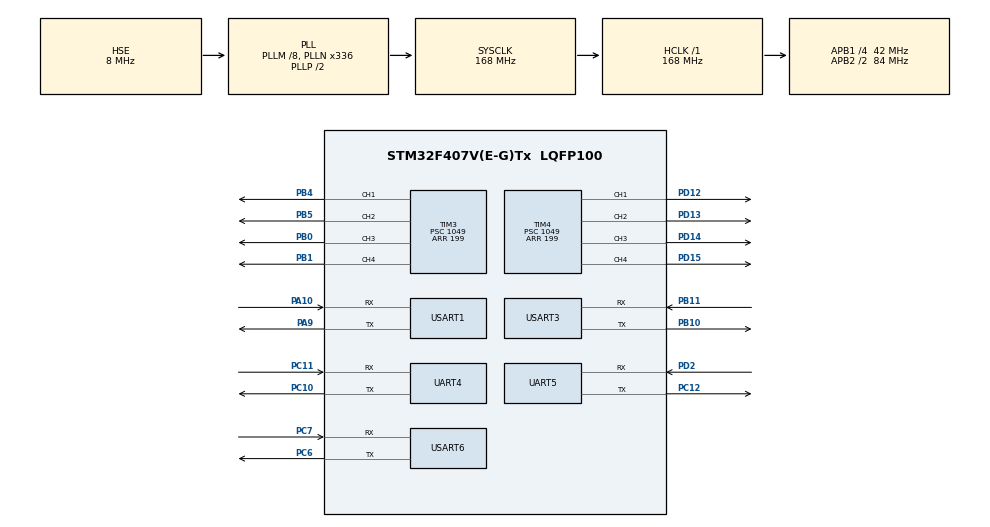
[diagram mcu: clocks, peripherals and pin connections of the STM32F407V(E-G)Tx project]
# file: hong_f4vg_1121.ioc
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Dma.Request0=USART3_RX
Dma.USART3_RX.0.Direction=DMA_PERIPH_TO_MEMORY
Dma.USART3_RX.0.FIFOMode=DMA_FIFOMODE_DISABLE
Dma.USART3_RX.0.Instance=DMA1_Stream1
Dma.USART3_RX.0.MemDataAlignment=DMA_MDATAALIGN_BYTE
Dma.USART3_RX.0.MemInc=DMA_MINC_ENABLE
Dma.USART3_RX.0.Mode=DMA_CIRCULAR
Dma.USART3_RX.0.PeriphDataAlignment=DMA_PDATAALIGN_BYTE
Dma.USART3_RX.0.PeriphInc=DMA_PINC_DISABLE
Dma.USART3_RX.0.Priority=DMA_PRIORITY_MEDIUM
FREERTOS.Queues01=radio_cmd_queue,16,uint16_t,0,Dynamic,NULL,NULL;gyro_data_queue,16,uint16_t,0,Dynamic,NULL,NULL;servo_cmd_queue,16,uint16_t,0,Dynamic,NULL,NULL;printfQueue,16,32,1,Dynamic,NULL,NULL
FREERTOS.Tasks01=Print,24,256,PrintTask,Default,NULL,Dynamic,NULL,NULL;CommandDispatch,40,256,CommandDispatcherTask,Default,NULL,Dynamic,NULL,NULL;PWMControl,32,128,PWMControlTask,Default,NULL,Dynamic,NULL,NULL;GyroData,32,256,GyroDataTask,Default,NULL,Dynamic,NULL,NULL;ServoControl,24,128,ServoControlTask,Default,NULL,Dynamic,NULL,NULL;RadioComm,24,256,RadioCommTask,Default,NULL,Dynamic,NULL,NULL;BoardCom,24,128,BoardComTask,Default,NULL,Dynamic,NULL,NULL;OnboardComp,24,256,OnboardCompTask,Default,NULL,Dynamic,NULL,NULL
Mcu.Family=STM32F4
Mcu.Name=STM32F407V(E-G)Tx
Mcu.Package=LQFP100
NVIC.DMA1_Stream1_IRQn=true\:5\:0\:false\:false\:true\:true\:false\:true\:true
NVIC.PriorityGroup=NVIC_PRIORITYGROUP_4
NVIC.UART4_IRQn=true\:5\:0\:true\:false\:true\:true\:true\:true\:true
NVIC.UART5_IRQn=true\:5\:0\:true\:false\:true\:true\:true\:true\:true
NVIC.USART1_IRQn=true\:5\:0\:true\:false\:true\:true\:true\:true\:true
NVIC.USART3_IRQn=true\:5\:0\:false\:false\:true\:true\:true\:true\:true
NVIC.USART6_IRQn=true\:5\:0\:true\:false\:true\:true\:true\:true\:true
PA10.Mode=Asynchronous
PA10.Signal=USART1_RX
PA13.Mode=Serial_Wire
PA13.Signal=SYS_JTMS-SWDIO
PA14.Mode=Serial_Wire
PA14.Signal=SYS_JTCK-SWCLK
PA9.Mode=Asynchronous
PA9.Signal=USART1_TX
PB0.Signal=S_TIM3_CH3
PB1.Signal=S_TIM3_CH4
PB10.Mode=Asynchronous
PB10.Signal=USART3_TX
PB11.Mode=Asynchronous
PB11.Signal=USART3_RX
PB4.Signal=S_TIM3_CH1
PB5.Signal=S_TIM3_CH2
PC10.Mode=Asynchronous
PC10.Signal=UART4_TX
PC11.Mode=Asynchronous
PC11.Signal=UART4_RX
PC12.Mode=Asynchronous
PC12.Signal=UART5_TX
PC6.Mode=Asynchronous
PC6.Signal=USART6_TX
PC7.Mode=Asynchronous
PC7.Signal=USART6_RX
PD12.Signal=S_TIM4_CH1
PD13.Signal=S_TIM4_CH2
PD14.Signal=S_TIM4_CH3
PD15.Signal=S_TIM4_CH4
PD2.Mode=Asynchronous
PD2.Signal=UART5_RX
PH0-OSC_IN.Mode=HSE-External-Oscillator
PH0-OSC_IN.Signal=RCC_OSC_IN
PH1-OSC_OUT.Mode=HSE-External-Oscillator
PH1-OSC_OUT.Signal=RCC_OSC_OUT
ProjectManager.HeapSize=0x200
ProjectManager.StackSize=0x400
ProjectManager.TargetToolchain=MDK-ARM V5.32
RCC.48MHZClocksFreq_Value=84000000
RCC.AHBFreq_Value=168000000
RCC.APB1CLKDivider=RCC_HCLK_DIV4
RCC.APB1Freq_Value=42000000
RCC.APB1TimFreq_Value=84000000
RCC.APB2CLKDivider=RCC_HCLK_DIV2
RCC.APB2Freq_Value=84000000
RCC.APB2TimFreq_Value=168000000
RCC.CortexFreq_Value=168000000
RCC.HCLKFreq_Value=168000000
RCC.HSE_VALUE=8000000
RCC.HSI_VALUE=16000000
RCC.LSE_VALUE=32768
RCC.PLLM=8
RCC.PLLN=336
RCC.PLLSourceVirtual=RCC_PLLSOURCE_HSE
RCC.SYSCLKFreq_VALUE=168000000
RCC.SYSCLKSource=RCC_SYSCLKSOURCE_PLLCLK
RCC.VCOOutputFreq_Value=336000000
SH.S_TIM3_CH1.0=TIM3_CH1,PWM Generation1 CH1
SH.S_TIM3_CH2.0=TIM3_CH2,PWM Generation2 CH2
SH.S_TIM3_CH3.0=TIM3_CH3,PWM Generation3 CH3
SH.S_TIM3_CH4.0=TIM3_CH4,PWM Generation4 CH4
SH.S_TIM4_CH1.0=TIM4_CH1,PWM Generation1 CH1
SH.S_TIM4_CH2.0=TIM4_CH2,PWM Generation2 CH2
SH.S_TIM4_CH3.0=TIM4_CH3,PWM Generation3 CH3
SH.S_TIM4_CH4.0=TIM4_CH4,PWM Generation4 CH4
TIM3.Channel-PWM\ Generation1\ CH1=TIM_CHANNEL_1
TIM3.Channel-PWM\ Generation2\ CH2=TIM_CHANNEL_2
TIM3.Channel-PWM\ Generation3\ CH3=TIM_CHANNEL_3
TIM3.Channel-PWM\ Generation4\ CH4=TIM_CHANNEL_4
TIM3.Period=199
TIM3.Prescaler=1049
TIM4.Channel-PWM\ Generation1\ CH1=TIM_CHANNEL_1
TIM4.Channel-PWM\ Generation2\ CH2=TIM_CHANNEL_2
TIM4.Channel-PWM\ Generation3\ CH3=TIM_CHANNEL_3
TIM4.Channel-PWM\ Generation4\ CH4=TIM_CHANNEL_4
TIM4.Period=199
TIM4.Prescaler=1049
UART4.VirtualMode=Asynchronous
UART5.VirtualMode=Asynchronous
USART1.VirtualMode=VM_ASYNC
USART3.VirtualMode=VM_ASYNC
USART6.VirtualMode=VM_ASYNC
VP_FREERTOS_VS_CMSIS_V2.Mode=CMSIS_V2
VP_TIM3_VS_ClockSourceINT.Mode=Internal
VP_TIM4_VS_ClockSourceINT.Mode=Internal
board=custom

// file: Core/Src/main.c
/* USER CODE BEGIN Header */
/**
  ******************************************************************************
  * @file           : main.c
  * @brief          : Main program body
  ******************************************************************************
  * @attention
  *
  * Copyright (c) 2025 STMicroelectronics.
  * All rights reserved.
  *
  * This software is licensed under terms that can be found in the LICENSE file
  * in the root directory of this software component.
  * If no LICENSE file comes with this software, it is provided AS-IS.
  *
  ******************************************************************************
  */
/* USER CODE END Header */
#include "main.h"
#include "cmsis_os.h"
#include "dma.h"
#include "tim.h"
#include "usart.h"
#include "gpio.h"

/* USER CODE BEGIN Includes */
#include "stdio.h"
#include "string.h"
#include "user_uart.h"
#include "fashion_star_uart_servo.h"
#include "fashion_star_uart_servo_examples.h"
/* USER CODE END Includes */

void SystemClock_Config(void);
void MX_FREERTOS_Init(void);

/* USER CODE BEGIN 0 */
//
uint8_t uart4_rx_byte;
uint8_t uart4_rx_buf[CMD_LEN+1];
uint8_t uart4_rx_index = 0;

int fputc(int ch, FILE *f)
{
    HAL_UART_Transmit(&huart5, (uint8_t*)&ch, 1, HAL_MAX_DELAY);
    return ch;
}

/* USER CODE END 0 */

int main(void)
{

  /* MCU Configuration--------------------------------------------------------*/

  /* Reset of all peripherals, Initializes the Flash interface and the Systick. */
  HAL_Init();

  /* Configure the system clock */
  SystemClock_Config();

  /* Initialize all configured peripherals */
  MX_GPIO_Init();
  MX_DMA_Init();
  MX_TIM3_Init();
  MX_TIM4_Init();
  MX_UART4_Init();
  MX_UART5_Init();
  MX_USART1_UART_Init();
  MX_USART3_UART_Init();
  MX_USART6_UART_Init();
  /* USER CODE BEGIN 2 */
  HAL_UART_Receive_IT(&huart4, &uart4_rx_byte, 1);
  User_Uart_Init(&huart6);
  /* USER CODE END 2 */

  /* Init scheduler */
  osKernelInitialize();

  /* Call init function for freertos objects (in cmsis_os2.c) */
  MX_FREERTOS_Init();

  /* Start scheduler */
  osKernelStart();

  /* We should never get here as control is now taken by the scheduler */

  /* Infinite loop */
  while (1)
  {

  }
}

void SystemClock_Config(void)
{
  RCC_OscInitTypeDef RCC_OscInitStruct = {0};
  RCC_ClkInitTypeDef RCC_ClkInitStruct = {0};

  /** Configure the main internal regulator output voltage
  */
  __HAL_RCC_PWR_CLK_ENABLE();
  __HAL_PWR_VOLTAGESCALING_CONFIG(PWR_REGULATOR_VOLTAGE_SCALE1);

  /** Initializes the RCC Oscillators according to the specified parameters
  * in the RCC_OscInitTypeDef structure.
  */
  RCC_OscInitStruct.OscillatorType = RCC_OSCILLATORTYPE_HSE;
  RCC_OscInitStruct.HSEState = RCC_HSE_ON;
  RCC_OscInitStruct.PLL.PLLState = RCC_PLL_ON;
  RCC_OscInitStruct.PLL.PLLSource = RCC_PLLSOURCE_HSE;
  RCC_OscInitStruct.PLL.PLLM = 8;
  RCC_OscInitStruct.PLL.PLLN = 336;
  RCC_OscInitStruct.PLL.PLLP = RCC_PLLP_DIV2;
  RCC_OscInitStruct.PLL.PLLQ = 4;
  if (HAL_RCC_OscConfig(&RCC_OscInitStruct) != HAL_OK)
  {
    Error_Handler();
  }

  /** Initializes the CPU, AHB and APB buses clocks
  */
  RCC_ClkInitStruct.ClockType = RCC_CLOCKTYPE_HCLK|RCC_CLOCKTYPE_SYSCLK
                              |RCC_CLOCKTYPE_PCLK1|RCC_CLOCKTYPE_PCLK2;
  RCC_ClkInitStruct.SYSCLKSource = RCC_SYSCLKSOURCE_PLLCLK;
  RCC_ClkInitStruct.AHBCLKDivider = RCC_SYSCLK_DIV1;
  RCC_ClkInitStruct.APB1CLKDivider = RCC_HCLK_DIV4;
  RCC_ClkInitStruct.APB2CLKDivider = RCC_HCLK_DIV2;

  if (HAL_RCC_ClockConfig(&RCC_ClkInitStruct, FLASH_LATENCY_5) != HAL_OK)
  {
    Error_Handler();
  }
}

/* USER CODE BEGIN 4 */
void HAL_UART_RxCpltCallback(UART_HandleTypeDef *huart)
{
 if (huart->Instance == UART4)
 {
     // 拼接命令
     if (uart4_rx_byte == '\n' || uart4_rx_index >= QUEUE_MSG_SIZE - 1)
     {
         uart4_rx_buf[uart4_rx_index] = 0;  // 结束符

         // 拷贝缓冲内容，避免覆盖
         char temp[QUEUE_MSG_SIZE] = {0};
         memcpy(temp, uart4_rx_buf, QUEUE_MSG_SIZE);
         // 入队列
         osMessageQueuePut(radio_cmd_queueHandle, temp, 0, 0);
         uart4_rx_index = 0;
     }
     else
     {
         uart4_rx_buf[uart4_rx_index++] = uart4_rx_byte;

     }

     // 继续接收下一个字节
     HAL_UART_Receive_IT(&huart4, &uart4_rx_byte, 1);
 }

 uint8_t ucTemp;
	if (huart->Instance == FSUS_Usart.huartX->Instance)
	{
		ucTemp = rc1;
		RingBuffer_Push(FSUS_Usart.recvBuf, ucTemp);// 接收到数据放入缓冲区，不在中断具体处理数据
		HAL_UART_Receive_IT(FSUS_Usart.huartX, (uint8_t *)&rc1, 1);
	}
}
/* USER CODE END 4 */

void Error_Handler(void)
{
  __disable_irq();
  while (1)
  {
  }
}

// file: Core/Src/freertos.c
/* USER CODE BEGIN Header */
/**
  ******************************************************************************
  * File Name          : freertos.c
  * Description        : Code for freertos applications
  ******************************************************************************
  * @attention
  *
  * Copyright (c) 2025 STMicroelectronics.
  * All rights reserved.
  *
  * This software is licensed under terms that can be found in the LICENSE file
  * in the root directory of this software component.
  * If no LICENSE file comes with this software, it is provided AS-IS.
  *
  ******************************************************************************
  */
/* USER CODE END Header */

#include "FreeRTOS.h"
#include "task.h"
#include "main.h"
#include "cmsis_os.h"

/* USER CODE BEGIN Includes */
#include "usart.h"
#include "stdio.h"
#include <string.h>
#include <stdlib.h>
#include <stdarg.h>
#include "fashion_star_uart_servo.h"
#include "fashion_star_uart_servo_examples.h"
#include "gyro_get.h"
#include "servo_set.h"

/* USER CODE END Includes */

/* USER CODE BEGIN PD */
#define UART_QUEUE_LEN    20
#define UART_MSG_MAX_LEN  256
typedef struct {
    char data[UART_MSG_MAX_LEN];
    uint16_t length;
} uart_msg_t;
#define PHASE_PWM_MIN   5.0f
#define PHASE_PWM_MAX   95.0f
#define TWO_PI          6.2831852f
#define PI              3.1415926f
float sine_freq = 1.0f;   // 正弦频率 (Hz)，你要控制的参数
float phase = 0.0f;       // 当前相位 (rad)
float Ts = 0.005f;        // 定时器周期 (秒)

typedef struct
{
    float freq ;        // Hz，0 = 停止摆动
    float phase ;       // rad
    float phase_offset;// rad，相位差
    float duty_center; // 中心占空比
    float duty_amp ;    // 摆动幅值
    uint8_t enable ;    // 1: 正弦摆动 0: 固定输出
} PWM_SineChannel_t;

PWM_SineChannel_t pwm_ch[8] =
{
    { .freq = 1.0f, .phase_offset = PI },
    { .freq = 1.0f },
    { .freq = 1.0f, .phase_offset = PI },
    { .freq = 1.0f },
    { .freq = 1.0f },
    { .freq = 1.0f },
    { .freq = 1.0f },
    { .freq = 1.0f, .phase_offset = PI }
};
PWM_SineChannel_t pwm_ch_back[8] =
{
    { .freq = 1.0f, .phase_offset = PI },
    { .freq = 1.0f },
    { .freq = 1.0f, .phase_offset = PI },
    { .freq = 1.0f },
    { .freq = 1.0f },
    { .freq = 1.0f },
    { .freq = 1.0f },
    { .freq = 1.0f, .phase_offset = PI }
};
typedef enum {
    CMD_STOP        = 0x00, // 停止摆动
    CMD_SINE        = 0x01, // 设置正弦摆动
    CMD_FORWARD     = 0x10, // 前进
    CMD_TURN_LEFT   = 0x11,
    CMD_TURN_RIGHT  = 0x12,
    CMD_ROTATE_LEFT = 0x13,
    CMD_ROTATE_RIGHT= 0x14,
    CMD_SINGLE      = 0x15
} PWM_Command_t;
/*
bit0 → CH1
bit1 → CH2
bit2 → CH3
bit3 → CH4
bit4 → CH5
bit5 → CH6
bit6 → CH7
bit7 → CH8
*/
#define CH_ALL   0xFF
#define CH_LEFT  0x0F   // CH1~4
#define CH_RIGHT 0xF0   // CH5~8
// 左翼（前 → 后）
#define CH_L1  3
#define CH_L2  2
#define CH_L3  7

// 右翼（前 → 后）
#define CH_R1  0
#define CH_R2  1
#define CH_R3  4
char *chanel_of[8] = {
   "CH_R1",
   "CH_R2",
   "CH_L2",
   "CH_L1",
   "CH_R3",
   "NULL ",
   "NULL ",
   "CH_L3"
};

/* USER CODE END PD */

/* Definitions for Print */
osThreadId_t PrintHandle;
const osThreadAttr_t Print_attributes = {
  .name = "Print",
  .stack_size = 256 * 4,
  .priority = (osPriority_t) osPriorityHigh,
};
/* Definitions for CommandDispatch */
osThreadId_t CommandDispatchHandle;
const osThreadAttr_t CommandDispatch_attributes = {
  .name = "CommandDispatch",
  .stack_size = 256 * 4,
  .priority = (osPriority_t) osPriorityHigh,
};
/* Definitions for PWMControl */
osThreadId_t PWMControlHandle;
const osThreadAttr_t PWMControl_attributes = {
  .name = "PWMControl",
  .stack_size = 128 * 4,
  .priority = (osPriority_t) osPriorityAboveNormal,
};
/* Definitions for GyroData */
osThreadId_t GyroDataHandle;
const osThreadAttr_t GyroData_attributes = {
  .name = "GyroData",
  .stack_size = 256 * 4,
  .priority = (osPriority_t) osPriorityAboveNormal,
};
/* Definitions for ServoControl */
osThreadId_t ServoControlHandle;
const osThreadAttr_t ServoControl_attributes = {
  .name = "ServoControl",
  .stack_size = 128 * 4,
  .priority = (osPriority_t) osPriorityNormal,
};
/* Definitions for RadioComm */
osThreadId_t RadioCommHandle;
const osThreadAttr_t RadioComm_attributes = {
  .name = "RadioComm",
  .stack_size = 256 * 4,
  .priority = (osPriority_t) osPriorityNormal,
};
/* Definitions for BoardCom */
osThreadId_t BoardComHandle;
const osThreadAttr_t BoardCom_attributes = {
  .name = "BoardCom",
  .stack_size = 128 * 4,
  .priority = (osPriority_t) osPriorityNormal,
};
/* Definitions for OnboardComp */
osThreadId_t OnboardCompHandle;
const osThreadAttr_t OnboardComp_attributes = {
  .name = "OnboardComp",
  .stack_size = 256 * 4,
  .priority = (osPriority_t) osPriorityNormal,
};
/* Definitions for radio_cmd_queue */
osMessageQueueId_t radio_cmd_queueHandle;
const osMessageQueueAttr_t radio_cmd_queue_attributes = {
  .name = "radio_cmd_queue"
};
/* Definitions for gyro_data_queue */
osMessageQueueId_t gyro_data_queueHandle;
const osMessageQueueAttr_t gyro_data_queue_attributes = {
  .name = "gyro_data_queue"
};
/* Definitions for servo_cmd_queue */
osMessageQueueId_t servo_cmd_queueHandle;
const osMessageQueueAttr_t servo_cmd_queue_attributes = {
  .name = "servo_cmd_queue"
};
/* Definitions for printfQueue */
osMessageQueueId_t printfQueueHandle;
const osMessageQueueAttr_t printfQueue_attributes = {
  .name = "printfQueue"
};

/* USER CODE BEGIN FunctionPrototypes */
void async_printf(const char *format, ...);
void PWM_ParseCommand(char *buf);
osMutexId_t printfMutexHandle;
int  Angle = 350;
float Duty = 50;
char Channel_P;

osTimerId_t pwmTimerHandle;
static uint8_t pwm_toggle = 0;   // 0 → 25%，1 → 75%

osSemaphoreId_t uart_rx_semHandle;  // 用于通知任务
/* USER CODE END FunctionPrototypes */

void PrintTask(void *argument);
void CommandDispatcherTask(void *argument);
void PWMControlTask(void *argument);
void GyroDataTask(void *argument);
void ServoControlTask(void *argument);
void RadioCommTask(void *argument);
void BoardComTask(void *argument);
void OnboardCompTask(void *argument);
void PWM_TimerCallback(void *argument);

void MX_FREERTOS_Init(void); /* (MISRA C 2004 rule 8.1) */

void MX_FREERTOS_Init(void) {

  /* Create the queue(s) */
  /* creation of radio_cmd_queue */
  radio_cmd_queueHandle = osMessageQueueNew (16, QUEUE_MSG_SIZE, &radio_cmd_queue_attributes);

  /* creation of printfQueue */
  printfQueueHandle = osMessageQueueNew (32, sizeof(uart_msg_t), &printfQueue_attributes);

  /* Create the thread(s) */
  /* creation of Print */
  PrintHandle = osThreadNew(PrintTask, NULL, &Print_attributes);

  /* creation of CommandDispatch */
  CommandDispatchHandle = osThreadNew(CommandDispatcherTask, NULL, &CommandDispatch_attributes);

  /* creation of PWMControl */
  PWMControlHandle = osThreadNew(PWMControlTask, NULL, &PWMControl_attributes);

  /* creation of GyroData */
  GyroDataHandle = osThreadNew(GyroDataTask, NULL, &GyroData_attributes);

  /* creation of ServoControl */
  ServoControlHandle = osThreadNew(ServoControlTask, NULL, &ServoControl_attributes);

  /* creation of RadioComm */
  RadioCommHandle = osThreadNew(RadioCommTask, NULL, &RadioComm_attributes);

  /* creation of BoardCom */
  BoardComHandle = osThreadNew(BoardComTask, NULL, &BoardCom_attributes);

  /* creation of OnboardComp */
  OnboardCompHandle = osThreadNew(OnboardCompTask, NULL, &OnboardComp_attributes);

  printfMutexHandle = osMutexNew(NULL);
  if (printfMutexHandle == NULL) {
    Error_Handler();
  }
  uart_rx_semHandle = osSemaphoreNew(1, 0, NULL);  // 初始计数 0

  pwmTimerHandle = osTimerNew(
                        PWM_TimerCallback,   // 回调函数
                        osTimerPeriodic,     // 周期定时器
                        NULL,
                        NULL);

  osTimerStart(pwmTimerHandle,5);  // 5000 ms = 5 秒

}

void PrintTask(void *argument)
{
  /* USER CODE BEGIN PrintTask */
  /* Infinite loop */
uart_msg_t msg;
 for (;;)
   {
        if (osMessageQueueGet(printfQueueHandle, &msg, NULL, osWaitForever) == osOK)
        {
           if (osMutexAcquire(printfMutexHandle, osWaitForever) == osOK)
           {
               HAL_UART_Transmit(&huart4, (uint8_t*)msg.data, msg.length,HAL_MAX_DELAY);
//               while(uart4_tx_busy) osDelay(1);

//               uart4_tx_busy = 1;
//               HAL_UART_Transmit_IT(&huart4, (uint8_t*)msg.data, msg.length);

//               // 等待发送完成，再继续下一条消息
//               while(uart4_tx_busy) osDelay(1);
//              // 等待上一次发送完成
               osMutexRelease(printfMutexHandle);
           }
        }
//      osDelay(100);

    }
  /* USER CODE END PrintTask */
}

void CommandDispatcherTask(void *argument)
{
  /* USER CODE BEGIN CommandDispatcherTask */
  /* Infinite loop */
   char cmd_buf[QUEUE_MSG_SIZE];  // 命令接收缓冲
   osStatus_t status;
   uint32_t tickStart = osKernelGetTickCount();

   for(;;)
   {
      memset(cmd_buf, 0, sizeof(cmd_buf));//清零
         // 处理串口4
      status = osMessageQueueGet(radio_cmd_queueHandle, cmd_buf, NULL, osWaitForever);
         if (status == osOK)
         {
//            printf("[UART4] CMD: %s\r\n", cmd_buf);
            if(cmd_buf[0] == 'S')  // 校验包头
            {
               async_printf("Angle %c,%c,%c\r\n",cmd_buf[2],cmd_buf[3],cmd_buf[4]);
               int sign = (cmd_buf[1] == '1') ? -1 : 1;

               Angle = (cmd_buf[2] - '0') * 100 +
                  (cmd_buf[3] - '0') * 10 +
                  (cmd_buf[4] - '0');

               Angle *= sign;
               async_printf("Angle %d\r\n",Angle);
            }else if(cmd_buf[0] == 'P'){
               osTimerStop(pwmTimerHandle);
               PWM_ParseCommand(cmd_buf);
               osTimerStart(pwmTimerHandle, 5);
            }else
               async_printf("CMD is error!!!\r\n");

         }
//      osDelay(100);
   }
  /* USER CODE END CommandDispatcherTask */
}

void PWMControlTask(void *argument)
{
  /* USER CODE BEGIN PWMControlTask */
  /* Infinite loop */
   // 初始化PWM
    PWM_StartAll();

    // 设置初始占空比
    PWM_SetDutyCycleAll(50.0f);  // 初始为0%

  for(;;)
  {
//     PWM_SetDutyCycleAll(Duty);
//     PWM_SetDutyCycle((PWM_Channel_t)Channel_P,Duty);
    osDelay(100);
  }
  /* USER CODE END PWMControlTask */
}

void GyroDataTask(void *argument)
{
  /* USER CODE BEGIN GyroDataTask */
  /* Infinite loop */
  GyroDataSet gyro_data;
  gyro_init();  // 启动DMA接收

  for(;;)
  {
     gyro_process_dma_data();

     // 步骤3: 检查是否有解析完成的新数据
     if (gyro_get_latest_data(&gyro_data)) {
         // 步骤4: 将数据发送到消息队列
        printf("gyro_data.ACC  :X:%f Y:%f Z:%f\r\n",gyro_data.acc.X,gyro_data.acc.Y,gyro_data.acc.Z);
        printf("gyro_data.gyro :X:%f Y:%f Z:%f\r\n",gyro_data.gyro.X,gyro_data.gyro.Y,gyro_data.gyro.Z);
        printf("gyro_data.angle:X:%f Y:%f Z:%f\r\n",gyro_data.angle.X,gyro_data.angle.Y,gyro_data.angle.Z);
        printf(" Real time is :%f\r\n",gyro_data.timestamp);
     }

    osDelay(100);
  }
  /* USER CODE END GyroDataTask */
}

void ServoControlTask(void *argument)
{
  /* USER CODE BEGIN ServoControlTask */
  /* Infinite loop */
  //舵机控制相关的参数
  //舵机的id号
  uint8_t servo_id = 0;
  // 舵机的目标角度
  // 舵机的角度在-180-180之间，最小单位0.1
  float angle;
  uint32_t interval; //时间间隔ms
  float velocity;	   // 电机转速单位dps,。/s
  //舵机执行功率mv 默认0
  uint16_t power = 0;
  // 加速时间(单位ms)
  uint16_t t_acc;
  //减速时间
  uint16_t t_dec;
  //读取的角度
  float angle_read;
  for(;;)
  {

//     /* 查询舵机的角度(多圈模式) */
//FSUS_STATUS FSUS_QueryServoAngleMTurn(Usart_DataTypeDef *usart, uint8_t servo_id, float *angle){
//	// 创建环形缓冲队列
//	const uint8_t size = 1; // 请求包content的长度
//	uint8_t ehcoServoId;
//	int32_t echoAngle;
//
//	// 发送舵机角度请求包
//	FSUS_SendPackage_Common(usart, FSUS_CMD_QUERY_SERVO_ANGLE_MTURN, size, &servo_id,0);
//	// 接收返回的Ping
//	PackageTypeDef pkg;
//	uint8_t statusCode = FSUS_RecvPackage(usart, &pkg);
//	if (statusCode == FSUS_STATUS_SUCCESS){
//		// 成功的获取到舵机角度回读数据
//		ehcoServoId = (uint8_t)pkg.content[0];
//		// 检测舵机ID是否匹配
//		if (ehcoServoId != servo_id){
//			// 反馈得到的舵机ID号不匹配
//			return FSUS_STATUS_ID_NOT_MATCH;
//		}
//
//		// 提取舵机角度
//		echoAngle = (int32_t)(pkg.content[1] | (pkg.content[2] << 8) |  (pkg.content[3] << 16) | (pkg.content[4] << 24));
//		*angle = (float)(echoAngle / 10.0);
//	}
//  return statusCode;
//}
//     // 舵机重置多圈角度圈数
//FSUS_STATUS FSUS_ServoAngleReset(Usart_DataTypeDef *usart, uint8_t servo_id){
//	uint8_t statusCode; // 状态码

//	FSUS_SendPackage_Common(usart, FSUS_CMD_RESERT_SERVO_ANGLE_MTURN, 1, &servo_id,0);
//	// 接收返回的Ping

//	return statusCode;
//}

//     printf("Angle:%f\r\n",Angle);
     // 控制舵机角度，基数510
     interval = 200;
     angle = -235.0;
     if(Angle>860||Angle<350)
     {
        if(Angle>860)
           Angle = 860;
        else
           Angle = 350;
     }

     FSUS_SetServoAngleMTurn(servo_usart, servo_id, Angle, interval, power);

    osDelay(500);
  }
  /* USER CODE END ServoControlTask */
}

void RadioCommTask(void *argument)
{
  for(;;)
  {
    osDelay(1);
  }
}

void BoardComTask(void *argument)
{
  for(;;)
  {
    osDelay(1);
  }
}

void OnboardCompTask(void *argument)
{
  for(;;)
  {
    osDelay(1);
  }
}

/* USER CODE BEGIN Application */
void parse_command(const char *cmd, uint8_t port_id)
{

 }

void PWM_TimerCallback(void *argument)
{
      // 1. 相位推进
//    phase += TWO_PI * sine_freq * Ts;

//    if (phase >= TWO_PI)
//        phase -= TWO_PI;

//    // 2. 相位 → PWM
//    float duty = PHASE_PWM_MIN +
//                 (phase / TWO_PI) * (PHASE_PWM_MAX - PHASE_PWM_MIN);

//    // 3. 同步发送给所有协控
//    PWM_SetDutyCycleAll(duty);
       for (int ch = 0; ch < 8; ch++)
       {
           PWM_SineChannel_t *c = &pwm_ch[ch];

           float duty;

           if (c->enable && c->freq > 0.01f)
           {
               // 1. 相位推进
               c->phase += TWO_PI * c->freq * Ts;

               if (c->phase >= TWO_PI)
                   c->phase -= TWO_PI;

               // 2. 相位发送(相位差）
               float s = c->phase + c->phase_offset;
//               if (s >= TWO_PI)          有数学上的bug
//                   s -= TWO_PI;
               //处理正溢出
               while (s >= TWO_PI) {
                   s -= TWO_PI;
               }

               // 处理负溢出
               while (s < 0.0f) {
                   s += TWO_PI;
               }
               duty = PHASE_PWM_MIN +
               (s / TWO_PI) * (PHASE_PWM_MAX - PHASE_PWM_MIN);
//               printf("ch : %d,  duty: %f\r\n",ch,duty);
           }
           else
           {
               // 固定占空比（停止摆动）
               duty = PHASE_PWM_MIN +
               (c->duty_center / TWO_PI) * (PHASE_PWM_MAX - PHASE_PWM_MIN);
           }

           // 3. 限幅
           if (duty < PHASE_PWM_MIN) duty = PHASE_PWM_MIN;
           if (duty > PHASE_PWM_MAX) duty = PHASE_PWM_MAX;

           PWM_SetDutyCycle((PWM_Channel_t)ch, duty);
       }
}

// 封装的线程安全打印函数

void async_printf(const char *format, ...) {

    uart_msg_t msg;
    va_list args;
    char buffer[UART_MSG_MAX_LEN]= {0};

    va_start(args, format);
    msg.length = vsnprintf(buffer, UART_MSG_MAX_LEN, format, args);
    va_end(args);

   // 确保字符串以空字符结尾
    if (msg.length >= UART_MSG_MAX_LEN - 1) {
        msg.length = UART_MSG_MAX_LEN - 2;
    }
    memcpy(msg.data, buffer, msg.length+1);
    // 将消息发送到队列，等待时间可根据实际情况调整
    osMessageQueuePut(printfQueueHandle, &msg,0, portMAX_DELAY);
}
/*
Byte0 : 'P'              // 包头          P（0x50）
Byte1 : CMD              // 命令类型
Byte2 : CH_MASK          // 通道掩码
Byte3 : PARAM1           // 频率 /不能发0x0A这是换行符号
Byte4 : PARAM2           // 相位
    CMD_STOP        = 0x00, // 停止摆动
    CMD_SINE        = 0x01, // 设置正弦摆动
    CMD_FORWARD     = 0x10, // 前进
    CMD_TURN_LEFT   = 0x11,
    CMD_TURN_RIGHT  = 0x12,
    CMD_ROTATE      = 0x13
// 统一映射
freq (Hz) = PARAM1 * 0.1f;        // 0~25.5Hz    1hz  D10 0x0A

typedef struct
{
    float freq;        // Hz，0 = 停止摆动   √
    float phase;       // rad                √
    float phase_offset;// rad，相位差        √
    float duty_center; // 中心占空比         ×
    float duty_amp;    // 摆动幅值           ×
    uint8_t enable;    // 1: 正弦摆动 0: 固定输出   √
} PWM_SineChannel_t;

    PWM_CH1 = 0,  // PB0  - TIM3_CH3    右1
    PWM_CH2,   1   // PB1  - TIM3_CH4
    PWM_CH3,  2    // PB4  - TIM3_CH1    左1
    PWM_CH4,   3   // PB5  - TIM3_CH2    左2
    PWM_CH5,   4   // PD12 - TIM4_CH1
    PWM_CH6,   5   // PD13 - TIM4_CH2
    PWM_CH7,    6  // PD14 - TIM4_CH3    左3
    PWM_CH8    7   // PD15 - TIM4_CH4    左4

    #define CH_L1  3       0x08       0x8c左翼
#define CH_L2  2           0x04
#define CH_L3  7           0x80

// 右翼（前 → 后）
#define CH_R1  0           01         0x13右翼
#define CH_R2  1           02
#define CH_R3  4           10         0xff全部
   */

void PWM_SetForward(float freq, float strength)
{
//    float dphi = 0.5*PI; // rad
//void PWM_SetForward(float freq, float strength)
//{
//    float dphi = (1.0f + 0.4f * strength); // rad

//    // 左
//    pwm_ch[CH_L1] = (PWM_SineChannel_t){freq, 0.0f,        0, 0, 0, 1};
//    pwm_ch[CH_L2] = (PWM_SineChannel_t){freq, dphi,        0, 0, 0, 1};
//    pwm_ch[CH_L3] = (PWM_SineChannel_t){freq, 2.0f*dphi,  0, 0, 0, 1};

//    // 右
//    pwm_ch[CH_R1] = (PWM_SineChannel_t){freq, 0.0f,        0, 0, 0, 1};
//    pwm_ch[CH_R2] = (PWM_SineChannel_t){freq, dphi,        0, 0, 0, 1};
//    pwm_ch[CH_R3] = (PWM_SineChannel_t){freq, 2.0f*dphi,  0, 0, 0, 1};
//}

    float dphi = TWO_PI * strength; // rad

    async_printf("Forward dphi:%.2f\r\n",dphi);
    // 左
    pwm_ch[CH_L1] = (PWM_SineChannel_t){freq, 0.0f, pwm_ch_back[CH_L1].phase_offset + dphi, 0, 0, 1};		//修改，线圈的初始方向只在pwm_ch中定义
    pwm_ch[CH_L2] = (PWM_SineChannel_t){freq, 0.0f, pwm_ch_back[CH_L2].phase_offset    ,    0, 0, 1};
    pwm_ch[CH_L3] = (PWM_SineChannel_t){freq, 0.0f, pwm_ch_back[CH_L3].phase_offset - dphi, 0, 0, 1};

    // 右
    pwm_ch[CH_R1] = (PWM_SineChannel_t){freq, 0.0f, pwm_ch_back[CH_R1].phase_offset + dphi, 0, 0, 1};
    pwm_ch[CH_R2] = (PWM_SineChannel_t){freq, 0.0f, pwm_ch_back[CH_R2].phase_offset    ,    0, 0, 1};
    pwm_ch[CH_R3] = (PWM_SineChannel_t){freq, 0.0f, pwm_ch_back[CH_R3].phase_offset - dphi, 0, 0, 1};
//    // 左
//    pwm_ch[CH_L1] = (PWM_SineChannel_t){freq, 0.0f,            0 + dphi, 0, 0, 1};
//    pwm_ch[CH_L2] = (PWM_SineChannel_t){freq, 0.0f,      PI, 0, 0, 1};
//    pwm_ch[CH_L3] = (PWM_SineChannel_t){freq, 0.0f, PI - dphi, 0, 0, 1};

//    // 右
//    pwm_ch[CH_R1] = (PWM_SineChannel_t){freq, 0.0f,     PI+0, 0, 0, 1};
//    pwm_ch[CH_R2] = (PWM_SineChannel_t){freq, 0.0f,      0- dphi, 0, 0, 1};
//    pwm_ch[CH_R3] = (PWM_SineChannel_t){freq, 0.0f, 0- 2 * dphi, 0, 0, 1};
}

void PWM_SetTurn(float freq, int dir, float strength)
{
//    float base_dphi = 0.8f;
//    float turn_gain = 1.0f + strength;  // 1~2

//    float left_dphi  = (dir < 0) ? base_dphi * 0.2f : base_dphi * turn_gain;
//    float right_dphi = (dir < 0) ? base_dphi * turn_gain : base_dphi * 0.2f;

//    // 左
//    pwm_ch[CH_L1] = (PWM_SineChannel_t){freq, 0, 0.0f,              0, 0, 1};
//    pwm_ch[CH_L2] = (PWM_SineChannel_t){freq, 0, PI+left_dphi,         0, 0, 1};
//    pwm_ch[CH_L3] = (PWM_SineChannel_t){freq, 0, PI+2.0f*left_dphi,    0, 0, 1};

//    // 右
//    pwm_ch[CH_R1] = (PWM_SineChannel_t){freq, 0, PI+0.0f,              0, 0, 1};
//    pwm_ch[CH_R2] = (PWM_SineChannel_t){freq, 0, right_dphi,        0, 0, 1};
//    pwm_ch[CH_R3] = (PWM_SineChannel_t){freq, 0, 2.0f*right_dphi,   0, 0, 1};

   float dphi = TWO_PI * strength; // rad
   async_printf("SetTurn dphi:%.2f,dir:%d\r\n",dphi,dir);
		if (dir < 0) {
    // 左
    pwm_ch[CH_L1] = (PWM_SineChannel_t){freq, 0.0f, pwm_ch_back[CH_L1].phase_offset + dphi, 0, 0, 1};
    pwm_ch[CH_L2] = (PWM_SineChannel_t){freq, 0.0f, pwm_ch_back[CH_L2].phase_offset    ,    0, 0, 1};
    pwm_ch[CH_L3] = (PWM_SineChannel_t){freq, 0.0f, pwm_ch_back[CH_L3].phase_offset - dphi, 0, 0, 1};

    pwm_ch[CH_R1] = (PWM_SineChannel_t){freq, 0.0f, pwm_ch_back[CH_R1].phase_offset + dphi, 0, 0, 0};
    pwm_ch[CH_R2] = (PWM_SineChannel_t){freq, 0.0f, pwm_ch_back[CH_R2].phase_offset,        0, 0, 0};
    pwm_ch[CH_R3] = (PWM_SineChannel_t){freq, 0.0f, pwm_ch_back[CH_R3].phase_offset - dphi, 0, 0, 0};}
		else	{
    pwm_ch[CH_L1] = (PWM_SineChannel_t){freq, 0.0f, pwm_ch_back[CH_L1].phase_offset + dphi, 0, 0, 0};
    pwm_ch[CH_L2] = (PWM_SineChannel_t){freq, 0.0f, pwm_ch_back[CH_L2].phase_offset    ,    0, 0, 0};
    pwm_ch[CH_L3] = (PWM_SineChannel_t){freq, 0.0f, pwm_ch_back[CH_L3].phase_offset - dphi, 0, 0, 0};

    pwm_ch[CH_R1] = (PWM_SineChannel_t){freq, 0.0f, pwm_ch_back[CH_R1].phase_offset + dphi, 0, 0, 1};
    pwm_ch[CH_R2] = (PWM_SineChannel_t){freq, 0.0f, pwm_ch_back[CH_R2].phase_offset,        0, 0, 1};
    pwm_ch[CH_R3] = (PWM_SineChannel_t){freq, 0.0f, pwm_ch_back[CH_R3].phase_offset - dphi, 0, 0, 1};}
}

void PWM_SetRotate(float freq, int dir, float strength)
{
//    float dphi = 0.4f + 0.4f * strength;

//    // 左
//    pwm_ch[CH_L1] = (PWM_SineChannel_t){freq, 0, 0.0f,         0, 0, 1};
//    pwm_ch[CH_L2] = (PWM_SineChannel_t){freq, 0, PI+dphi,         0, 0, 1};
//    pwm_ch[CH_L3] = (PWM_SineChannel_t){freq, 0, PI+2.0f*dphi,    0, 0, 1};

//    // 右（反相）
//    pwm_ch[CH_R1] = (PWM_SineChannel_t){freq, 0, PI+PI,               0, 0, 1};
//    pwm_ch[CH_R2] = (PWM_SineChannel_t){freq, 0, PI + dphi,        0, 0, 1};
//    pwm_ch[CH_R3] = (PWM_SineChannel_t){freq, 0, PI + 2.0f*dphi,   0, 0, 1};
   float dphi = TWO_PI * strength; // rad

	async_printf("SetRotate dphi:%.2f,dir:%d\r\n",dphi,dir);
    // 左
    pwm_ch[CH_L1] = (PWM_SineChannel_t){freq, 0.0f, pwm_ch_back[CH_L1].phase_offset-dir*dphi, 0, 0, 1};
    pwm_ch[CH_L2] = (PWM_SineChannel_t){freq, 0.0f, pwm_ch_back[CH_L2].phase_offset,          0, 0, 1};
    pwm_ch[CH_L3] = (PWM_SineChannel_t){freq, 0.0f, pwm_ch_back[CH_L3].phase_offset+dir*dphi, 0, 0, 1};

    // 右（反相）
    pwm_ch[CH_R1] = (PWM_SineChannel_t){freq, 0.0f, pwm_ch_back[CH_R1].phase_offset-dir*dphi, 0, 0, 1};
    pwm_ch[CH_R2] = (PWM_SineChannel_t){freq, 0.0f, pwm_ch_back[CH_R2].phase_offset,          0, 0, 1};
    pwm_ch[CH_R3] = (PWM_SineChannel_t){freq, 0.0f, pwm_ch_back[CH_R3].phase_offset+dir*dphi, 0, 0, 1};
}

//
void PWM_ParseCommand(char *buf)
{
    if (buf[0] != 'P') return;

    uint8_t cmd     = buf[1];
    uint8_t ch_mask = buf[2];
    uint8_t v1      = buf[3];
    uint8_t v2      = buf[4];
    async_printf("Enter %0X,%0X,%0X,%0X,%d/255\r\n",cmd,ch_mask,v1,v2,v2);
    float freq      = v1 * 0.1f;        // Hz/
    float offset    = v2 / 255.0f * TWO_PI;        // 相位差
    float level     = v2 / 255.0f;         // 0~1 归一化参数
    switch (cmd)
    {
    case CMD_STOP:// 0x00
        for (int i = 0; i < 8; i++)
        {
              if (ch_mask & (1 << i))//
              {
                 pwm_ch[i].enable = 0;
              }
        }
        break;

    case CMD_SINE:// 0x01
    //设置频率非0时正弦摆动，频率为0时保持位置；发布指令的鳍条运动，未发布指令的鳍条停止
        for (int i = 0; i < 8; i++)
        {
              if (ch_mask & (1 << i))
               {
                  pwm_ch[i] = pwm_ch_back[i];

                  pwm_ch[i].freq           = freq;
                  pwm_ch[i].phase_offset   = pwm_ch[i].phase_offset + offset;
//                pwm_ch[i].phase_offset        = offset;  //修改,offset设置为绝对相位
                  pwm_ch[i].enable         = 1;
                  async_printf("ch:%d,QI:%-6s,yuan:%.3f,offset:%.3f,freq:%.3f\r\n",
                     pwm_ch[i].enable,
                     chanel_of[i],
                     pwm_ch[i].phase_offset,
                     pwm_ch[i].phase_offset -pwm_ch_back[i].phase_offset,
                     pwm_ch[i].freq
                    );
               }
               else
                  pwm_ch[i].enable         = 0; //修改，未发布指令的鳍条停止
        }
        break;

    case CMD_SINGLE:// 0x15
    //设置频率非0时正弦摆动，频率为0时保持位置；发布指令的鳍条运动，未发布指令的鳍条按原先运动
        for (int i = 0; i < 8; i++)
        {
              if (ch_mask & (1 << i))
               {
                  pwm_ch[i] = pwm_ch_back[i];

                  pwm_ch[i].freq           = freq;
                  pwm_ch[i].phase_offset   = pwm_ch[i].phase_offset + offset;
//                pwm_ch[i].phase_offset   = offset;  //修改,offset设置为绝对相位
                  pwm_ch[i].enable         = 1;

                  async_printf("ch:%d,QI:%-6s,yuan:%.3f,offset:%.3f,freq:%.3f\r\n",
                     pwm_ch[i].enable,
                     chanel_of[i],
                     pwm_ch[i].phase_offset,
                     pwm_ch[i].phase_offset - pwm_ch_back[i].phase_offset,
                     pwm_ch[i].freq
                    );
               }
        }
        break;

    case CMD_FORWARD:// 0x10
        PWM_SetForward(freq, level);
        break;

    case CMD_TURN_LEFT:// 0x11
        PWM_SetTurn(freq, -1, level);
        break;

    case CMD_TURN_RIGHT:// 0x12
        PWM_SetTurn(freq, +1, level);
        break;

    case CMD_ROTATE_LEFT:// 0x13
        PWM_SetRotate(freq, -1, level);
        break;

    case CMD_ROTATE_RIGHT:// 0x14
        PWM_SetRotate(freq, +1, level);
        break;
    }

}

/* USER CODE END Application */
